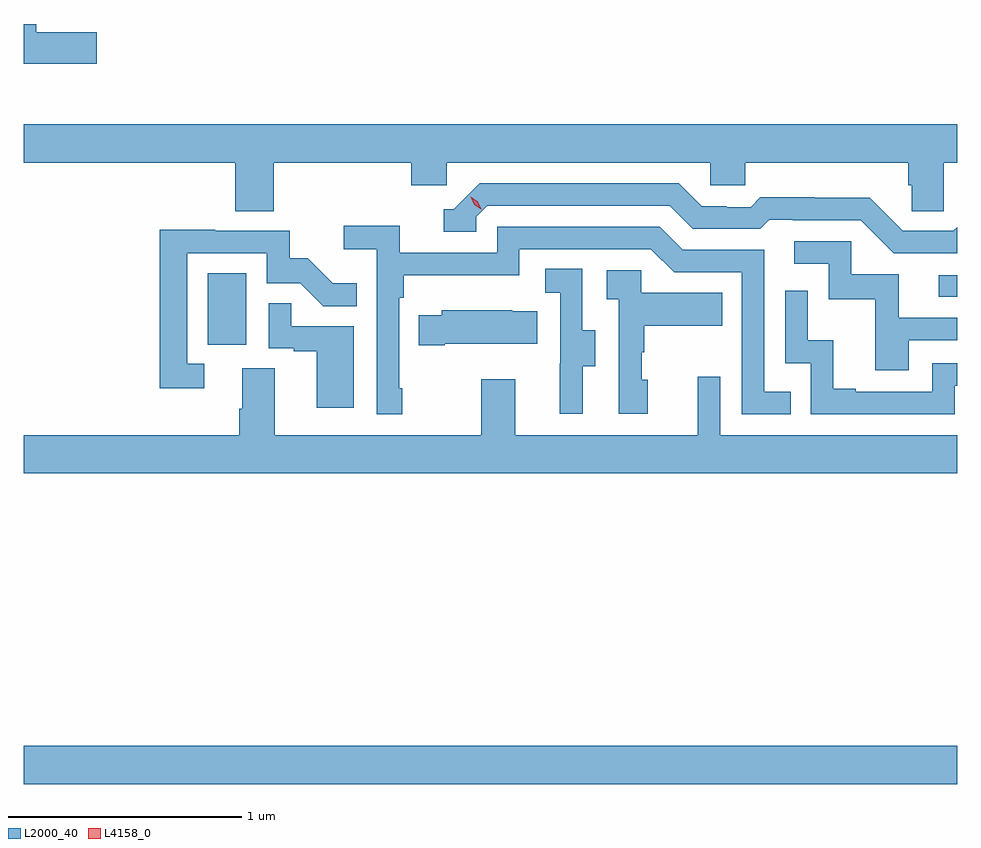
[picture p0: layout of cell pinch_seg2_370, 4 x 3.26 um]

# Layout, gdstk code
import gdstk
lib = gdstk.Library(unit=1e-6, precision=1e-09)
def R(c, l, rs):  # rectangles x0, y0, x1, y1
    for r in rs: c.add(gdstk.rectangle(r[:2], r[2:], *l))
def P(c, l, *ps):  # polygons
    for p in ps: c.add(gdstk.Polygon(p, *l))
L2000_40 = (2000, 40)
L4158_0 = (4158, 0)

pinch_seg2_370 = lib.new_cell('pinch_seg2_370')
R(pinch_seg2_370, L2000_40, [(1007.91,618.332,1011.91,618.496), (1008.698,620.214,1008.862,620.521), (1011.831,620.421,1011.91,620.514)])
P(pinch_seg2_370, L2000_40, [(1008.223,621.554),(1007.962,621.554),(1007.962,621.59),(1007.91,621.59),(1007.91,621.419),(1008.223,621.419)],
  [(1008.98,620.996),(1009.571,620.996),(1009.571,620.898),(1009.722,620.898),(1009.722,620.996),(1010.853,620.996),(1010.853,620.898),(1011.003,620.898),(1011.003,620.996),(1011.701,620.996),(1011.701,620.898),(1011.715,620.898),(1011.715,620.788),(1011.852,620.788),(1011.852,620.996),(1011.91,620.996),(1011.91,621.16),(1007.91,621.16),(1007.91,620.996),(1008.815,620.996),(1008.815,620.788),(1008.98,620.788)],
  [(1011.91,620.719),(1011.894,620.703),(1011.678,620.703),(1011.536,620.845),(1011.3,620.845),(1011.3,620.848),(1011.067,620.848),(1011.025,620.805),(1010.922,620.805),(1010.922,620.808),(1010.815,620.808),(1010.716,620.907),(1009.863,620.907),(1009.752,620.796),(1009.709,620.796),(1009.709,620.7),(1009.848,620.7),(1009.848,620.763),(1009.896,620.811),(1010.679,620.811),(1010.778,620.712),(1011.067,620.712),(1011.106,620.751),(1011.205,620.751),(1011.205,620.748),(1011.498,620.748),(1011.639,620.607),(1011.91,620.607)],
  [(1009.531,620.029),(1009.518,620.029),(1009.518,620.417),(1009.538,620.417),(1009.538,620.513),(1010.034,620.513),(1010.034,620.625),(1010.598,620.625),(1010.697,620.526),(1010.988,620.526),(1010.988,619.917),(1011.197,619.917),(1011.197,620.013),(1011.084,620.013),(1011.084,620.622),(1010.734,620.622),(1010.635,620.721),(1009.938,620.721),(1009.938,620.61),(1009.52,620.61),(1009.52,620.726),(1009.281,620.726),(1009.281,620.624),(1009.422,620.624),(1009.422,619.917),(1009.531,619.917)],
  [(1008.682,620.133),(1008.609,620.133),(1008.609,620.607),(1008.951,620.607),(1008.951,620.478),(1009.095,620.478),(1009.193,620.38),(1009.337,620.38),(1009.337,620.479),(1009.233,620.479),(1009.126,620.586),(1009.05,620.586),(1009.05,620.703),(1008.731,620.703),(1008.731,620.708),(1008.493,620.708),(1008.493,620.028),(1008.682,620.028)],
  [(1011.703,620.235),(1011.91,620.235),(1011.91,620.331),(1011.661,620.331),(1011.661,620.517),(1011.456,620.517),(1011.456,620.658),(1011.213,620.658),(1011.213,620.562),(1011.36,620.562),(1011.36,620.409),(1011.559,620.409),(1011.559,620.106),(1011.703,620.106)],
  [(1010.305,620.122),(1010.359,620.122),(1010.359,620.277),(1010.304,620.277),(1010.304,620.54),(1010.145,620.54),(1010.145,620.437),(1010.208,620.437),(1010.208,620.133),(1010.207,620.133),(1010.207,619.92),(1010.305,619.92)],
  [(1010.584,620.064),(1010.559,620.064),(1010.559,620.183),(1010.569,620.183),(1010.569,620.297),(1010.903,620.297),(1010.903,620.437),(1010.556,620.437),(1010.556,620.535),(1010.409,620.535),(1010.409,620.411),(1010.46,620.411),(1010.46,619.92),(1010.584,619.92)],
  [(1011.9,620.04),(1011.91,620.04),(1011.91,620.136),(1011.804,620.136),(1011.804,620.013),(1011.475,620.013),(1011.475,620.026),(1011.38,620.026),(1011.38,620.234),(1011.27,620.234),(1011.27,620.446),(1011.174,620.446),(1011.174,620.136),(1011.282,620.136),(1011.282,619.917),(1011.9,619.917)],
  [(1009.324,620.295),(1009.055,620.295),(1009.055,620.393),(1008.96,620.393),(1008.96,620.199),(1009.067,620.199),(1009.067,620.187),(1009.166,620.187),(1009.166,619.944),(1009.324,619.944)],
  [(1009.714,620.219),(1010.111,620.219),(1010.111,620.359),(1010.003,620.359),(1010.003,620.362),(1009.701,620.362),(1009.701,620.341),(1009.603,620.341),(1009.603,620.212),(1009.714,620.212)],
  [(1011.91,619.828),(1010.895,619.828),(1010.895,620.077),(1010.798,620.077),(1010.798,619.828),(1010.017,619.828),(1010.017,620.068),(1009.87,620.068),(1009.87,619.828),(1008.985,619.828),(1008.985,620.114),(1008.845,620.114),(1008.845,619.94),(1008.833,619.94),(1008.833,619.828),(1007.91,619.828),(1007.91,619.664),(1011.91,619.664)])
P(pinch_seg2_370, L4158_0, [(1009.871,620.796),(1009.84,620.816),(1009.825,620.849),(1009.825,620.85),(1009.826,620.85),(1009.856,620.829),(1009.871,620.796),(1009.871,620.796)])

lib.write_gds('pinch_seg2_370.gds')
